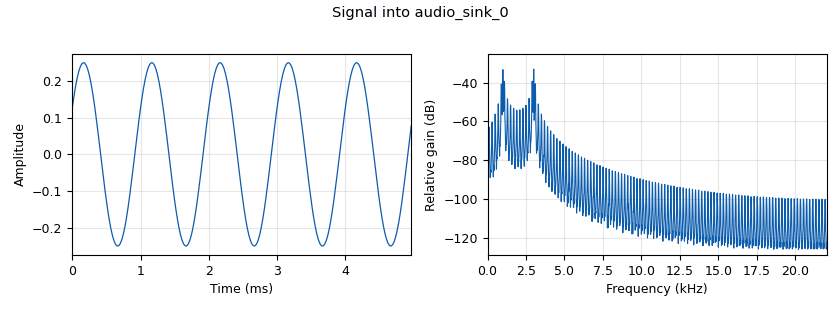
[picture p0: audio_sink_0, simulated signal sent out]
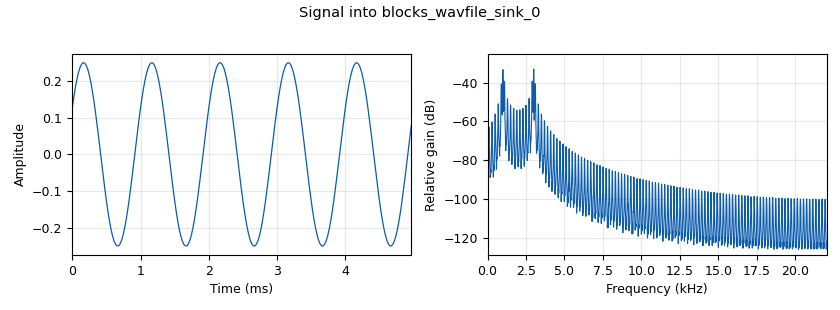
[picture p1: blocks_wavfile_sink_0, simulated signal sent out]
options:
  parameters:
    author: Barry Duggan
    comment: 'Source: https://github.com/duggabe/gr-control/blob/main/Transmitters/pkt_fsk_xmt_rcv.grc'
    description: packet FSK xmt rcv v1
    generate_options: qt_gui
    id: pkt_fsk_xmt_rcv_v1
    output_language: python
    title: pkt_fsk_xmt_rcv_v1
  states: {}

blocks:
- name: baud
  id: variable
  parameters:
    value: '200'
  states: {}
- name: center
  id: variable
  parameters:
    value: (mark+space)/2
  states: {}
- name: decim
  id: variable
  parameters:
    value: '20'
  states: {}
- name: fsk_deviation
  id: variable
  parameters:
    value: (abs)(mark-space)
  states: {}
- name: inp_amp
  id: variable
  parameters:
    value: (mark/vco_max)-vco_offset
  states: {}
- name: mark
  id: variable
  parameters:
    value: '1000'
  states: {}
- name: phase_bw
  id: variable
  parameters:
    value: math.pi/32
  states: {}
- name: repeat
  id: variable
  parameters:
    value: (int)(samp_rate/baud)
  states: {}
- name: samp_rate
  id: variable
  parameters:
    comment: |-
      |----------------------------------------------------------------------------------------->
      User set values
    value: '44100'
  states: {}
- name: space
  id: variable
  parameters:
    value: '3000'
  states: {}
- name: sps
  id: variable
  parameters:
    value: (int)(repeat/decim)
  states: {}
- name: thresh
  id: variable
  parameters:
    value: '1'
  states: {}
- name: vco_max
  id: variable
  parameters:
    value: center+fsk_deviation
  states: {}
- name: vco_offset
  id: variable
  parameters:
    value: space/vco_max
  states: {}
- name: analog_random_uniform_source_x_0
  id: analog_random_uniform_source_x
  parameters:
    maximum: '255'
    minimum: '0'
    seed: '0'
    type: byte
  states: {state: disabled}
- name: audio_sink_0
  id: audio_sink
  parameters:
    samp_rate: samp_rate
  states: {}
- name: blocks_add_const_vxx_0
  id: blocks_add_const_vxx
  parameters:
    comment: vco_offset
    const: vco_offset
    type: float
  states: {}
- name: blocks_multiply_const_vxx_0
  id: blocks_multiply_const_vxx
  parameters:
    comment: inp_amp
    const: inp_amp
    type: float
  states: {}
- name: blocks_repack_bits_bb_1_0
  id: blocks_repack_bits_bb
  parameters:
    endianness: gr.GR_MSB_FIRST
    k: '8'
    l: '1'
    len_tag_key: ''
  states: {}
- name: blocks_repack_bits_bb_1_0_0
  id: blocks_repack_bits_bb
  parameters:
    endianness: gr.GR_MSB_FIRST
    k: '8'
    l: '1'
    len_tag_key: ''
  states: {}
- name: blocks_repeat_0
  id: blocks_repeat
  parameters:
    interp: repeat*2
    type: byte
  states: {}
- name: blocks_repeat_0_0
  id: blocks_repeat
  parameters:
    interp: repeat
    type: byte
  states: {}
- name: blocks_uchar_to_float_0
  id: blocks_uchar_to_float
  parameters: {}
  states: {}
- name: blocks_vco_f_0
  id: blocks_vco_f
  parameters:
    amplitude: '0.25'
    samp_rate: samp_rate
    sensitivity: 2*math.pi*vco_max
  states: {}
- name: blocks_vector_source_x_0
  id: blocks_vector_source_x
  parameters:
    repeat: 'True'
    type: byte
    vector: (0x55, 0x55, 0x55)
  states: {}
- name: blocks_vector_source_x_0_0
  id: blocks_vector_source_x
  parameters:
    repeat: 'False'
    type: byte
    vector: (0x01, 0x02, 0x03, 0x04, 0x05, 0x06)
  states: {}
- name: blocks_wavfile_sink_0
  id: blocks_wavfile_sink
  parameters:
    bits_per_sample1: FORMAT_PCM_16
    file: pkt_fsk_xmt_make_wav_v1.wav
    format: FORMAT_WAV
    samp_rate: samp_rate
  states: {}
- name: blocks_xor_xx_0
  id: blocks_xor_xx
  parameters:
    type: byte
  states: {}
- name: import_0
  id: import
  parameters:
    imports: import math
  states: {}
- name: note_0
  id: note
  parameters:
    comment: |-
      |----------------------------------------------------------------------------------------------------------------------------------------------------------|
      Calculated values:
      -   center freq = (mark+space)/2
      -   repeat = (int)(samp_rate/baud)
      -   fsk_deviation = (abs)(mark-space)
      -   vco_max = center+fsk_deviation
      -   vco_offset = space/vco_max
      -   inp_amp = (mark/vco_max)-vco_offset
      -   vco sensitivity = 2*math.pi*vco_max
  states: {}
- name: note_0_0
  id: note
  parameters:
    comment: |-
      |----------------------------------------------------------------------------------------->
      Calculated values:
      -   sps = (int)(repeat/decim)
      -  decim = 
      -   Quad Demod Gain = samp_rate/(2*math.pi*fsk_deviation)
  states: {}
- name: virtual_sink_0
  id: virtual_sink
  parameters:
    stream_id: t2
  states: {}
- name: virtual_sink_0_0
  id: virtual_sink
  parameters:
    stream_id: t1
  states: {}
- name: virtual_source_0
  id: virtual_source
  parameters:
    stream_id: t2
  states: {}
- name: virtual_source_0_0
  id: virtual_source
  parameters:
    stream_id: t1
  states: {}

connections:
- [analog_random_uniform_source_x_0, '0', virtual_sink_0_0, '0']
- [blocks_add_const_vxx_0, '0', blocks_vco_f_0, '0']
- [blocks_multiply_const_vxx_0, '0', blocks_add_const_vxx_0, '0']
- [blocks_repack_bits_bb_1_0, '0', blocks_repeat_0, '0']
- [blocks_repack_bits_bb_1_0_0, '0', blocks_repeat_0_0, '0']
- [blocks_repeat_0, '0', blocks_xor_xx_0, '0']
- [blocks_repeat_0_0, '0', blocks_xor_xx_0, '1']
- [blocks_uchar_to_float_0, '0', virtual_sink_0, '0']
- [blocks_vco_f_0, '0', audio_sink_0, '0']
- [blocks_vco_f_0, '0', blocks_wavfile_sink_0, '0']
- [blocks_vector_source_x_0, '0', blocks_repack_bits_bb_1_0_0, '0']
- [blocks_vector_source_x_0_0, '0', virtual_sink_0_0, '0']
- [blocks_xor_xx_0, '0', blocks_uchar_to_float_0, '0']
- [virtual_source_0, '0', blocks_multiply_const_vxx_0, '0']
- [virtual_source_0_0, '0', blocks_repack_bits_bb_1_0, '0']

metadata:
  file_format: 1
  grc_version: 3.10.9.2
